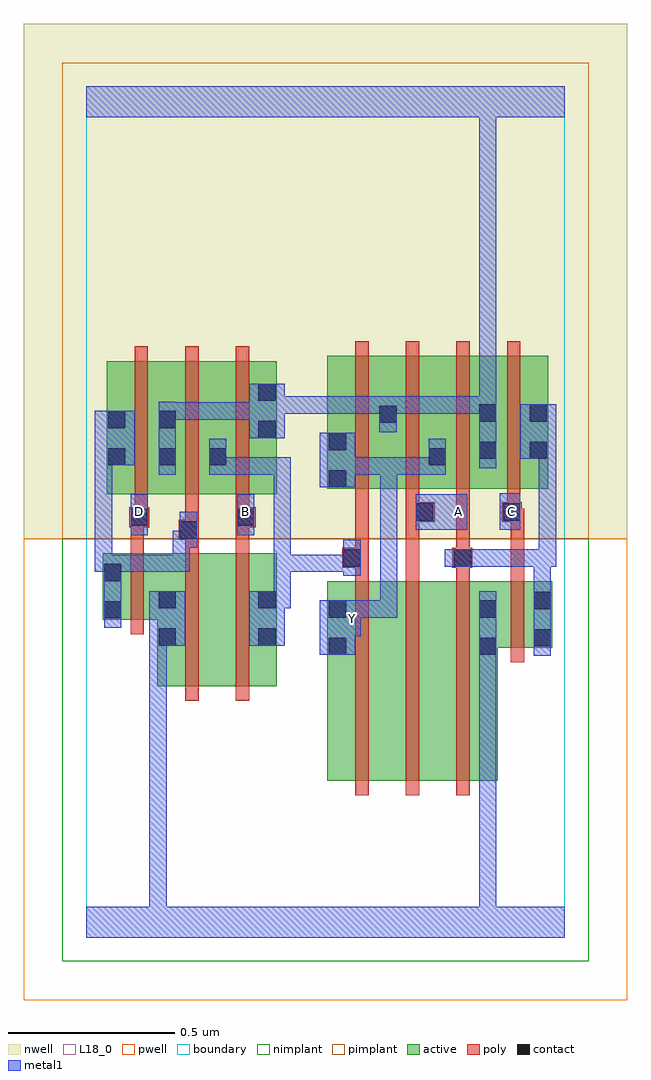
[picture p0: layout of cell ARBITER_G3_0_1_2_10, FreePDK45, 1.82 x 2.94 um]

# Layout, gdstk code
import gdstk
lib = gdstk.Library(unit=1e-6, precision=1e-09)
def R(c, l, rs):  # rectangles x0, y0, x1, y1
    for r in rs: c.add(gdstk.rectangle(r[:2], r[2:], *l))
def A(c, l, x, y, w, h, nx, ny, dx, dy):  # array of equal rectangles
    R(c, l, [(x+i*dx, y+j*dy, x+i*dx+w, y+j*dy+h) for i in range(nx) for j in range(ny)])
active = (1, 0)
pwell = (2, 0)
nwell = (3, 0)
nimplant = (4, 0)
pimplant = (5, 0)
poly = (9, 0)
contact = (10, 0)
metal1 = (11, 0)
L18_0 = (18, 0)
boundary = (235, 0)

arbiter_g3_0_1_2_10 = lib.new_cell('ARBITER_G3_0_1_2_10')
R(arbiter_g3_0_1_2_10, active, [(0.726,0.472,0.906,1.072), (0.906,0.472,1.058,1.072), (1.058,0.472,1.238,1.072), (0.726,0.556,0.786,1.072), (0.214,0.756,0.394,1.156), (0.394,0.756,0.574,1.156), (0.514,0.756,0.574,1.156), (1.178,0.846,1.238,1.028), (1.178,0.872,1.402,1.072), (1.342,0.872,1.402,1.072), (0.214,0.874,0.274,1.062), (0.05,0.956,0.11,1.156), (0.05,0.956,0.274,1.156), (0.062,1.334,0.274,1.734), (0.062,1.334,0.122,1.644), (0.214,1.334,0.426,1.734), (0.366,1.334,0.574,1.734), (0.514,1.334,0.574,1.67), (0.726,1.35,0.786,1.644), (0.726,1.35,0.938,1.75), (0.878,1.35,1.086,1.75), (1.026,1.35,1.238,1.75), (1.178,1.35,1.39,1.75), (1.33,1.35,1.39,1.644), (0.214,1.416,0.274,1.644), (0.366,1.416,0.426,1.644), (1.026,1.416,1.086,1.644), (1.178,1.436,1.238,1.75), (0.878,1.544,0.938,1.644)])
R(arbiter_g3_0_1_2_10, pwell, [(-0.188,-0.188,1.628,1.2)])
R(arbiter_g3_0_1_2_10, nwell, [(-0.188,1.2,1.628,2.748)])
R(arbiter_g3_0_1_2_10, nimplant, [(-0.072,-0.072,1.512,1.2)])
R(arbiter_g3_0_1_2_10, pimplant, [(-0.072,1.2,1.512,2.632)])
A(arbiter_g3_0_1_2_10, poly, 0.81, 0.428, 0.04, 0.688, 3, 1, 0.152, 0)
A(arbiter_g3_0_1_2_10, poly, 0.146, 1.29, 0.04, 0.488, 3, 1, 0.152, 0)
A(arbiter_g3_0_1_2_10, poly, 0.81, 1.306, 0.04, 0.488, 4, 1, 0.152, 0)
R(arbiter_g3_0_1_2_10, poly, [(0.298,0.712,0.338,1.2), (0.45,0.712,0.49,1.2), (1.278,0.828,1.318,1.116), (0.134,0.912,0.174,1.2), (0.81,1.076,0.85,1.152), (0.962,1.076,1.002,1.29), (1.114,1.076,1.154,1.152), (1.278,1.076,1.318,1.29), (0.77,1.112,0.85,1.172), (0.81,1.112,0.85,1.152), (0.81,1.112,0.85,1.152), (1.102,1.112,1.162,1.172), (0.81,1.132,0.85,1.346), (1.114,1.132,1.154,1.172), (1.114,1.132,1.154,1.172), (1.114,1.132,1.154,1.346), (0.134,1.16,0.174,1.274), (0.298,1.16,0.338,1.236), (0.45,1.16,0.49,1.274), (0.278,1.196,0.338,1.256), (0.298,1.216,0.338,1.256), (0.298,1.216,0.338,1.256), (0.298,1.216,0.338,1.33), (0.13,1.234,0.19,1.294), (0.134,1.234,0.174,1.274), (0.134,1.234,0.174,1.274), (0.45,1.234,0.49,1.274), (0.45,1.234,0.49,1.274), (0.45,1.234,0.51,1.294), (0.962,1.25,1.002,1.29), (0.962,1.25,1.002,1.29), (0.962,1.25,1.048,1.31), (1.25,1.25,1.31,1.31), (1.27,1.25,1.31,1.29), (1.27,1.25,1.318,1.29), (0.146,1.254,0.186,1.33), (0.45,1.254,0.49,1.33), (0.962,1.27,1.002,1.346), (1.266,1.27,1.306,1.346)])
A(arbiter_g3_0_1_2_10, contact, 0.066, 1.42, 0.052, 0.052, 3, 1, 0.152, 0)
R(arbiter_g3_0_1_2_10, contact, [(0.73,0.85,0.782,0.902), (1.182,0.85,1.234,0.902), (1.346,0.876,1.398,0.928), (0.218,0.878,0.27,0.93), (0.518,0.878,0.57,0.93), (0.054,0.96,0.106,1.012), (0.73,0.962,0.782,1.014), (1.182,0.962,1.234,1.014), (1.346,0.988,1.398,1.04), (0.218,0.99,0.27,1.042), (0.518,0.99,0.57,1.042), (0.054,1.072,0.106,1.124), (0.774,1.116,0.826,1.168), (1.106,1.116,1.158,1.168), (0.282,1.2,0.334,1.252), (0.134,1.238,0.186,1.29), (0.454,1.238,0.506,1.29), (0.992,1.254,1.044,1.306), (1.254,1.254,1.306,1.306), (0.73,1.354,0.782,1.406), (1.03,1.42,1.082,1.472), (1.182,1.44,1.234,1.492), (1.334,1.44,1.386,1.492), (0.73,1.466,0.782,1.518), (0.518,1.502,0.57,1.554), (0.066,1.532,0.118,1.584), (0.218,1.532,0.27,1.584), (0.882,1.548,0.934,1.6), (1.182,1.552,1.234,1.604), (1.334,1.552,1.386,1.604), (0.518,1.614,0.57,1.666)])
A(arbiter_g3_0_1_2_10, metal1, 0.37, 1.392, 0.052, 0.052, 3, 1, 0.194, 0)
R(arbiter_g3_0_1_2_10, metal1, [(0,0,1.44,0.092), (0.19,0.04,0.242,0.092), (0.19,0.04,0.242,0.092), (0.19,0.04,0.242,0.092), (0.19,0.04,0.242,0.092), (0.19,0.04,0.242,0.092), (0.19,0.04,0.242,0.092), (0.19,0.04,0.242,0.092), (0.19,0.04,0.242,0.092), (0.19,0.04,0.242,0.93), (1.182,0.04,1.234,0.092), (1.182,0.04,1.234,0.092), (1.182,0.04,1.234,0.874), (1.182,0.822,1.234,0.874), (1.182,0.822,1.234,0.874), (1.182,0.822,1.234,0.874), (1.182,0.822,1.234,0.874), (1.182,0.822,1.234,0.874), (1.182,0.822,1.234,0.874), (1.182,0.822,1.234,1.042), (1.346,0.848,1.398,1.068), (0.702,0.85,0.81,1.014), (0.19,0.878,0.242,0.93), (0.19,0.878,0.242,0.93), (0.19,0.878,0.242,0.93), (0.19,0.878,0.242,0.93), (0.19,0.878,0.298,1.042), (0.49,0.878,0.598,1.042), (0.758,0.906,0.826,1.014), (0.054,0.932,0.106,1.152), (0.758,0.962,0.81,1.014), (0.774,0.962,0.826,1.014), (0.774,0.962,0.826,1.014), (0.774,0.962,0.936,1.014), (0.884,0.962,0.936,1.014), (0.884,0.962,0.936,1.444), (0.546,0.99,0.598,1.042), (0.546,0.99,0.616,1.042), (0.564,0.99,0.616,1.152), (1.346,1.016,1.398,1.168), (0.774,1.088,0.826,1.196), (0.026,1.1,0.078,1.472), (0.026,1.1,0.106,1.152), (0.054,1.1,0.106,1.152), (0.054,1.1,0.106,1.152), (0.054,1.1,0.106,1.152), (0.054,1.1,0.312,1.152), (0.26,1.1,0.312,1.224), (0.564,1.1,0.616,1.152), (0.564,1.1,0.616,1.152), (0.564,1.1,0.616,1.152), (0.564,1.1,0.826,1.152), (0.564,1.1,0.616,1.444), (1.078,1.116,1.186,1.168), (1.134,1.116,1.186,1.168), (1.134,1.116,1.186,1.168), (1.134,1.116,1.398,1.168), (1.346,1.116,1.398,1.168), (1.346,1.116,1.398,1.168), (1.346,1.116,1.414,1.168), (1.362,1.116,1.414,1.492), (0.26,1.172,0.334,1.224), (0.282,1.172,0.334,1.28), (0.134,1.21,0.186,1.334), (0.454,1.21,0.506,1.334), (0.992,1.226,1.146,1.334), (1.244,1.226,1.306,1.336), (0.702,1.354,0.81,1.518), (0.218,1.392,0.27,1.612), (0.37,1.392,0.422,1.444), (0.37,1.392,0.422,1.5), (0.37,1.392,0.616,1.444), (0.758,1.392,0.81,1.444), (0.758,1.392,0.936,1.444), (0.884,1.392,0.936,1.444), (0.884,1.392,0.936,1.444), (0.884,1.392,0.936,1.444), (0.884,1.392,0.936,1.444), (0.884,1.392,0.936,1.444), (0.884,1.392,1.082,1.444), (1.03,1.392,1.082,1.5), (1.182,1.412,1.234,1.632), (0.026,1.42,0.078,1.472), (0.026,1.42,0.078,1.472), (0.026,1.42,0.146,1.584), (1.306,1.44,1.414,1.604), (1.362,1.44,1.414,1.492), (1.362,1.44,1.414,1.492), (0.49,1.502,0.598,1.666), (0.882,1.52,0.934,1.628), (0.218,1.558,0.27,1.61), (0.218,1.558,0.27,1.61), (0.218,1.558,0.432,1.61), (0.38,1.558,0.432,1.61), (0.38,1.558,0.432,1.61), (0.38,1.558,0.432,1.61), (0.38,1.558,0.542,1.61), (0.546,1.576,0.726,1.628), (0.674,1.576,0.726,1.628), (0.674,1.576,0.726,1.628), (0.674,1.576,0.726,1.628), (0.674,1.576,0.934,1.628), (0.882,1.576,0.966,1.628), (0.914,1.576,0.966,1.628), (0.914,1.576,1.076,1.628), (1.024,1.576,1.076,1.628), (1.024,1.576,1.076,1.628), (1.024,1.576,1.076,1.628), (1.024,1.576,1.234,1.628), (1.182,1.58,1.234,2.52), (0,2.468,1.44,2.56), (1.182,2.468,1.234,2.52), (1.182,2.468,1.234,2.52), (1.182,2.468,1.234,2.52), (1.182,2.468,1.234,2.52), (1.182,2.468,1.234,2.52), (1.182,2.468,1.234,2.52), (1.182,2.468,1.234,2.52), (1.182,2.468,1.234,2.52), (1.182,2.468,1.234,2.52), (1.182,2.468,1.234,2.52), (1.182,2.468,1.234,2.52), (1.182,2.468,1.234,2.52), (1.182,2.468,1.234,2.52), (1.182,2.468,1.234,2.52), (1.182,2.468,1.234,2.52), (1.182,2.468,1.234,2.52)])
R(arbiter_g3_0_1_2_10, L18_0, [(0,0,1.44,0.092), (0.19,0.04,0.242,0.092), (0.19,0.04,0.242,0.092), (0.19,0.04,0.242,0.092), (0.19,0.04,0.242,0.092), (0.19,0.04,0.242,0.092), (0.19,0.04,0.242,0.092), (0.19,0.04,0.242,0.092), (0.19,0.04,0.242,0.092), (0.19,0.04,0.242,0.93), (1.182,0.04,1.234,0.092), (1.182,0.04,1.234,0.092), (1.182,0.04,1.234,0.874), (1.182,0.822,1.234,0.874), (1.182,0.822,1.234,0.874), (1.182,0.822,1.234,0.874), (1.182,0.822,1.234,0.874), (1.182,0.822,1.234,0.874), (1.182,0.822,1.234,0.874), (1.182,0.822,1.234,1.042), (0.702,0.85,0.81,1.014), (0.19,0.878,0.242,0.93), (0.19,0.878,0.242,0.93), (0.19,0.878,0.242,0.93), (0.19,0.878,0.242,0.93), (0.19,0.878,0.298,1.042), (0.758,0.906,0.826,1.014), (0.774,0.934,0.826,0.986), (0.758,0.962,0.81,1.014), (0.774,0.962,0.826,1.014), (0.774,0.962,0.826,1.014), (0.774,0.962,0.936,1.014), (0.884,0.962,0.936,1.014), (0.884,0.962,0.936,1.444), (0.134,1.21,0.186,1.334), (0.454,1.21,0.506,1.334), (0.992,1.226,1.146,1.334), (1.244,1.226,1.306,1.336), (0.134,1.254,0.186,1.306), (0.454,1.254,0.506,1.306), (1.094,1.254,1.146,1.306), (1.254,1.254,1.306,1.306), (0.702,1.354,0.81,1.518), (0.218,1.392,0.27,1.612), (0.758,1.392,0.81,1.444), (0.758,1.392,0.81,1.444), (0.758,1.392,0.936,1.444), (0.884,1.392,0.936,1.444), (0.884,1.392,0.936,1.444), (0.884,1.392,0.936,1.444), (0.884,1.392,0.936,1.444), (0.884,1.392,0.936,1.444), (0.884,1.392,1.082,1.444), (1.03,1.392,1.082,1.5), (1.182,1.412,1.234,1.632), (0.49,1.502,0.598,1.666), (0.882,1.52,0.934,1.628), (0.218,1.558,0.27,1.61), (0.218,1.558,0.27,1.61), (0.218,1.558,0.432,1.61), (0.38,1.558,0.432,1.61), (0.38,1.558,0.432,1.61), (0.38,1.558,0.432,1.61), (0.38,1.558,0.542,1.61), (0.546,1.576,0.726,1.628), (0.674,1.576,0.726,1.628), (0.674,1.576,0.726,1.628), (0.674,1.576,0.726,1.628), (0.674,1.576,0.934,1.628), (0.882,1.576,0.966,1.628), (0.914,1.576,0.966,1.628), (0.914,1.576,1.076,1.628), (1.024,1.576,1.076,1.628), (1.024,1.576,1.076,1.628), (1.024,1.576,1.076,1.628), (1.024,1.576,1.234,1.628), (1.182,1.58,1.234,2.52), (0,2.468,1.44,2.56), (1.182,2.468,1.234,2.52), (1.182,2.468,1.234,2.52), (1.182,2.468,1.234,2.52), (1.182,2.468,1.234,2.52), (1.182,2.468,1.234,2.52), (1.182,2.468,1.234,2.52), (1.182,2.468,1.234,2.52), (1.182,2.468,1.234,2.52), (1.182,2.468,1.234,2.52), (1.182,2.468,1.234,2.52), (1.182,2.468,1.234,2.52), (1.182,2.468,1.234,2.52), (1.182,2.468,1.234,2.52), (1.182,2.468,1.234,2.52), (1.182,2.468,1.234,2.52), (1.182,2.468,1.234,2.52)])
R(arbiter_g3_0_1_2_10, boundary, [(0,0,1.44,2.56)])
arbiter_g3_0_1_2_10.add(gdstk.Label('A', (1.12,1.28), layer=11, texttype=0))
arbiter_g3_0_1_2_10.add(gdstk.Label('B', (0.48,1.28), layer=11, texttype=0))
arbiter_g3_0_1_2_10.add(gdstk.Label('C', (1.28,1.28), layer=11, texttype=0))
arbiter_g3_0_1_2_10.add(gdstk.Label('D', (0.16,1.28), layer=11, texttype=0))
arbiter_g3_0_1_2_10.add(gdstk.Label('Y', (0.8,0.96), layer=11, texttype=0))

lib.write_gds('ARBITER_G3_0_1_2_10.gds')
